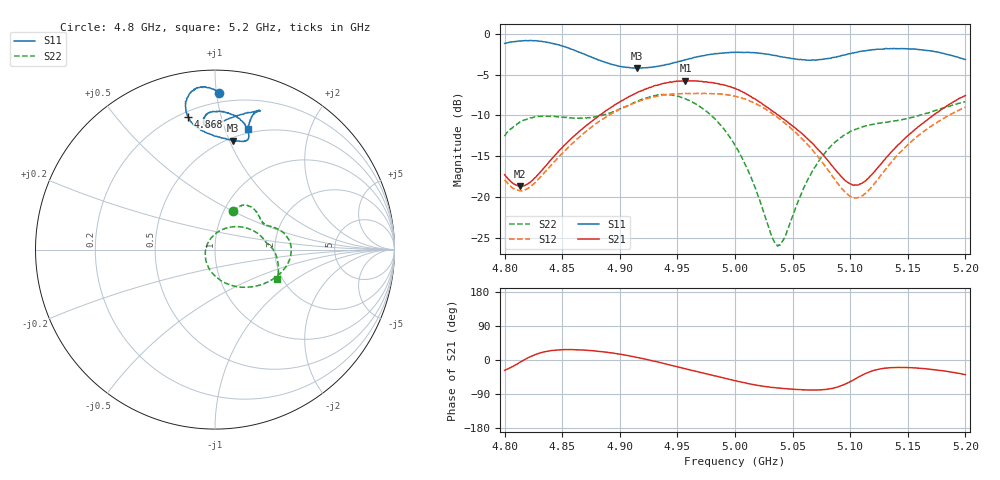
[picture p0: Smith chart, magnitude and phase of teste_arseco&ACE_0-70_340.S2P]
! Network Analyzer HP8722D
! Hewlett-Packard
! Data name: Linha & Wilkinson
! Saver's name: Rodrigo Anjos
! Comments: Teste da utilização de aquisição
! continua pelo VNA HP8722D
! Time and date: 8/5/2025 15:35
!  Frequency  S11  S21  S12  S22
# HZ  S  MA R 50
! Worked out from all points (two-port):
!   401 points, 4.8 GHz to 5.2 GHz, reference 50 ohm
!   highest |S21| = -5.74 dB at 4.957 GHz (marker M1); lowest = -18.7 dB at 4.813 GHz (marker M2)
!   |S21| within 3 dB of the highest: 4.895 GHz to 5.025 GHz (129.9 MHz wide, 2.62 % of centre); 5.185009 GHz to end of sweep
!   lowest |S11| = -4.2 dB at 4.915 GHz (marker M3), VSWR 4.21, Z = 26.3 + j51.6 ohm
!   |S11| at or under -10 dB: nowhere
!   |S22| runs from -26.0 to -7.4 dB; largest |S21 - S12| = 0.89
!   S11 on the Smith chart (normalised r, x): 4.8 GHz: 0.14, +1.02; 4.868 GHz: 0.23, +0.79; 5.2 GHz: 0.46, +1.20
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4.8e9  0.8733 88.5  0.137 -27.1  0.1274 100.4  0.236 64.2
4.813e9  0.9039 92.4  0.1163 -6.8  0.1094 118.1  0.2878 59.1
4.841e9  0.8752 99.6  0.1715 25.1  0.1585 148.6  0.3133 42.0
4.867e9  0.7596 101.6  0.2598 26.3  0.2395 153.5  0.3045 30.4
4.868e9  0.756 101.4  0.2636 26.2  0.2432 153.5  0.3047 30.1
4.894e9  0.6476 93.1  0.3595 18.2  0.3277 148.4  0.3327 23.1
4.915e9  0.6159 80.6  0.436 6.8  0.3821 139.9  0.3853 15.4
4.934e9  0.634 73.8  0.4878 -6.0  0.4174 129.7  0.4219 3.2
4.957e9  0.6936 74.9  0.5167 -23.2  0.4312 115.0  0.3998 -16.0
4.981e9  0.7505 81.1  0.5008 -40.9  0.4294 99.8  0.3078 -41.2
5e9  0.7708 87.4  0.4634 -54.7  0.4145 86.6  0.2071 -68.8
5.019e9  0.7645 92.4  0.3925 -66.6  0.3702 73.4  0.1066 -109.6
5.032e9  0.7402 94.5  0.3377 -72.2  0.3259 66.3  0.05745 -160.8
5.037e9  0.7308 94.8  0.319 -73.8  0.3078 64.1  0.04997 167.2
5.043e9  0.7178 95.1  0.2978 -75.5  0.2851 61.9  0.05629 129.2
5.067e9  0.6911 92.9  0.2142 -79.2  0.1952 57.8  0.1432 59.2
5.083e9  0.7079 87.7  0.1593 -75.9  0.1392 62.9  0.204 37.3
5.104e9  0.7663 79.1  0.1185 -50.6  0.09873 91.9  0.2587 19.0
5.115e9  0.791 75.3  0.129 -33.6  0.1079 111.2  0.2748 13.3
5.134e9  0.8089 72.3  0.1828 -20.5  0.1578 126.0  0.2894 7.4
5.17e9  0.7855 74.0  0.3085 -24.5  0.2706 120.7  0.3322 -2.3
5.2e9  0.6958 74.7  0.4185 -38.7  0.3555 109.2  0.3835 -25.3
